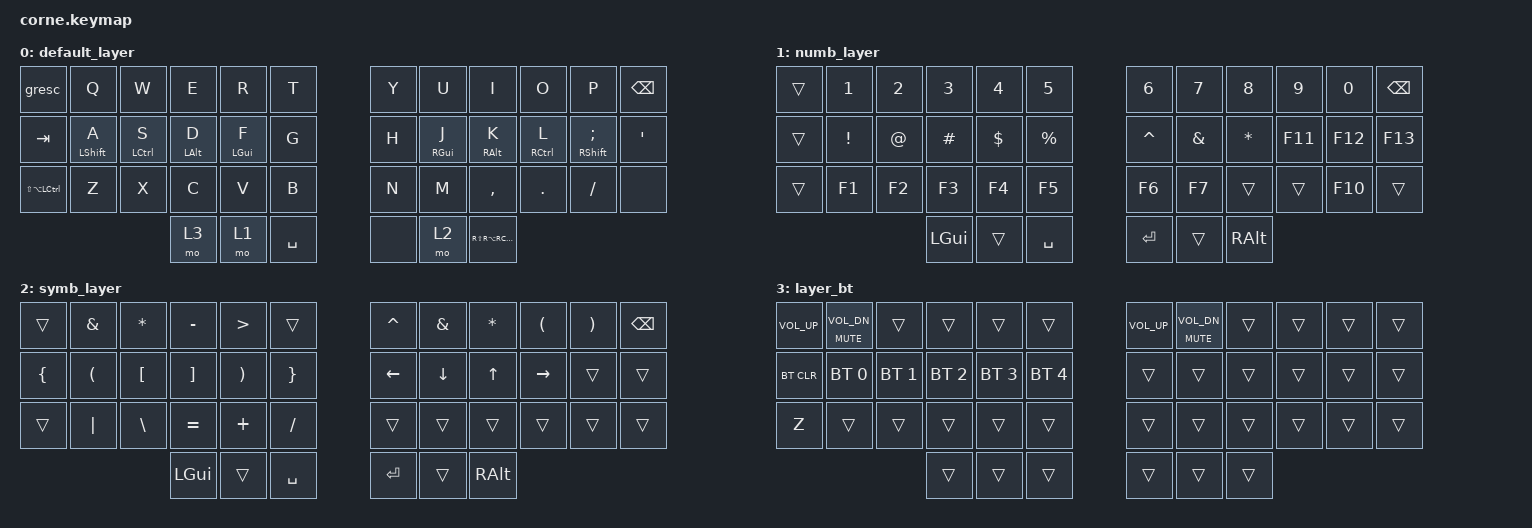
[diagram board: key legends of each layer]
/*
 * Copyright (c) 2020 The ZMK Contributors
 *
 * SPDX-License-Identifier: MIT
 */

#include "keypos_42keys.h"
#include <behaviors.dtsi>
#include <dt-bindings/zmk/bt.h>
#include <dt-bindings/zmk/keys.h>

#define BASE 0
#define NUMB 1
#define SYMB 2
#define BT   3

&mt {
    flavor = "balanced";
    tapping-term-ms = <280>;
    quick-tap-ms = <175>;
    require-prior-idle-ms = <150>;
};

/ {
    combos {
        compatible = "zmk,combos";

        combo_cpy {
            bindings = <&kp LG(C)>;
            key-positions = <26 27>;
        };

        combo_scrn_sht {
            bindings = <&kp LG(LS(LA(LC(K))))>;
            key-positions = <25 26>;
        };

        combo_pst {
            bindings = <&kp LG(V)>;
            key-positions = <27 28>;
        };

        combo_pst_wo {
            bindings = <&kp LS(LG(V))>;
            key-positions = <29 27>;
        };

        combo_pst_key {
            bindings = <&kp LS(LA(LG(V)))>;
            key-positions = <28 29>;
        };

        app_chgr {
            bindings = <&kp LG(SPACE)>;
            key-positions = <16 15>;
        };

        return {
            bindings = <&kp RETURN>;
            key-positions = <35 39>;
        };
    };

    keymap {
        compatible = "zmk,keymap";

        default_layer {
            // -----------------------------------------------------------------------------------------
            // | ESC  |  Q  |  W  |  E  |  R  |  T  |   |  Y  |  U   |  I  |  O  |  P  | BKSP |
            // | CTRL |  A  |  S  |  D  |  F  |  G  |   |  H  |  J   |  K  |  L  |  ;  |  '   |
            // | SHFT |  Z  |  X  |  C  |  V  |  B  |   |  N  |  M   |  ,  |  .  |  /  | ESC  |
            //                    | GUI | LWR | SPC |   | ENT | RSE  | ALT |

            bindings = <
&gresc                    &kp Q             &kp W        &kp E           &kp R           &kp T        &kp Y  &kp U            &kp I                      &kp O        &kp P                      &kp BSPC
&kp TAB                   &mt LEFT_SHIFT A  &mt LCTRL S  &mt LEFT_ALT D  &mt LEFT_GUI F  &kp G        &kp H  &mt RIGHT_GUI J  &mt RIGHT_ALT K            &mt RCTRL L  &mt RIGHT_SHIFT SEMICOLON  &kp SQT
&kp LS(LA(LEFT_CONTROL))  &kp Z             &kp X        &kp C           &kp V           &kp B        &kp N  &kp M            &kp COMMA                  &kp DOT      &kp FSLH                   &none
                                                         &mo 3           &mo 1           &kp SPACE    &none  &mo 2            &kp RS(RA(RC(RIGHT_GUI)))
            >;
        };

        numb_layer {
            // -----------------------------------------------------------------------------------------
            // |  TAB |  1  |  2  |  3  |  4  |  5  |   |  6  |  7  |  8  |  9  |  0  | BKSP |
            // | BTCLR| BT1 | BT2 | BT3 | BT4 | BT5 |   | LFT | DWN |  UP | RGT |     |      |
            // | SHFT |     |     |     |     |     |   |     |     |     |     |     |      |
            //                    | GUI |     | SPC |   | ENT |     | ALT |

            bindings = <
&trans  &kp N1    &kp N2  &kp N3    &kp N4    &kp N5       &kp N6     &kp N7    &kp N8    &kp N9   &kp N0   &kp BSPC
&trans  &kp EXCL  &kp AT  &kp HASH  &kp DLLR  &kp PRCNT    &kp CARET  &kp AMPS  &kp STAR  &kp F11  &kp F12  &kp F13
&trans  &kp F1    &kp F2  &kp F3    &kp F4    &kp F5       &kp F6     &kp F7    &trans    &trans   &kp F10  &trans
                          &kp LGUI  &trans    &kp SPACE    &kp RET    &trans    &kp RALT
            >;
        };

        symb_layer {
            // -----------------------------------------------------------------------------------------
            // |  TAB |  !  |  @  |  #  |  $  |  %  |   |  ^  |  &  |  *  |  (  |  )  | BKSP |
            // | CTRL |     |     |     |     |     |   |  -  |  =  |  [  |  ]  |  \  |  `   |
            // | SHFT |     |     |     |     |     |   |  _  |  +  |  {  |  }  | "|" |  ~   |
            //                    | GUI |     | SPC |   | ENT |     | ALT |

            bindings = <
&trans    &kp AMPS  &kp STAR  &kp MINUS  &kp GT    &trans       &kp CARET  &kp AMPS  &kp ASTRK  &kp LPAR   &kp RPAR  &kp BSPC
&kp LBRC  &kp LPAR  &kp LBKT  &kp RBKT   &kp RPAR  &kp RBRC     &kp LEFT   &kp DOWN  &kp UP     &kp RIGHT  &trans    &trans
&trans    &kp PIPE  &kp BSLH  &kp EQUAL  &kp PLUS  &kp FSLH     &trans     &trans    &trans     &trans     &trans    &trans
                              &kp LGUI   &trans    &kp SPACE    &kp RET    &trans    &kp RALT
            >;
        };

        layer_bt {
            bindings = <
&kp C_VOL_UP  &mt C_MUTE C_VOL_DN  &trans        &trans        &trans        &trans          &kp C_VOL_UP  &mt K_MUTE C_VOL_DN  &trans  &trans  &trans  &trans
&bt BT_CLR    &bt BT_SEL 0         &bt BT_SEL 1  &bt BT_SEL 2  &bt BT_SEL 3  &bt BT_SEL 4    &trans        &trans               &trans  &trans  &trans  &trans
&kp Z         &trans               &trans        &trans        &trans        &trans          &trans        &trans               &trans  &trans  &trans  &trans
                                                 &trans        &trans        &trans          &trans        &trans               &trans
            >;
        };
    };
};
